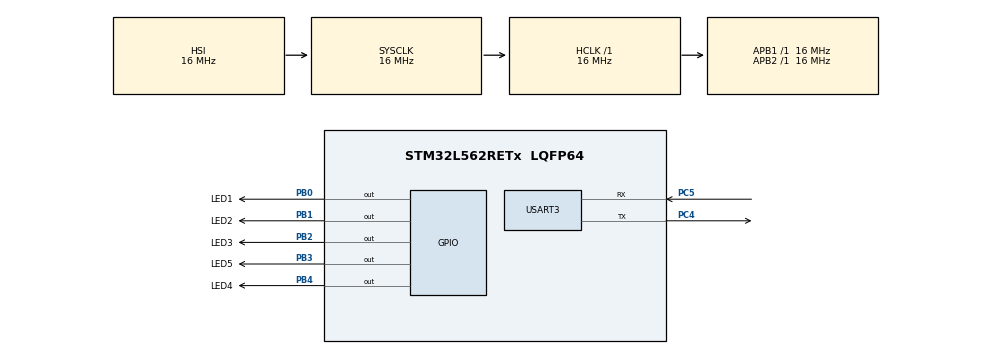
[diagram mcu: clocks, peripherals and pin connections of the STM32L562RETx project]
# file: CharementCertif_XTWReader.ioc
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Mcu.Family=STM32L5
Mcu.Name=STM32L562RETx
Mcu.Package=LQFP64
NVIC.PriorityGroup=NVIC_PRIORITYGROUP_3
NVIC.USART3_IRQn=true\:0\:0\:false\:false\:true\:true\:true
PB0.GPIO_Label=LED1
PB0.Signal=GPIO_Output
PB1.GPIO_Label=LED2
PB1.Signal=GPIO_Output
PB2.GPIO_Label=LED3
PB2.Signal=GPIO_Output
PB3\ (JTDO/TRACESWO).GPIO_Label=LED5
PB3\ (JTDO/TRACESWO).Signal=GPIO_Output
PB4\ (NJTRST).GPIO_Label=LED4
PB4\ (NJTRST).Signal=GPIO_Output
PC4.Mode=Asynchronous
PC4.Signal=USART3_TX
PC5.Mode=Asynchronous
PC5.Signal=USART3_RX
ProjectManager.HeapSize=0x200
ProjectManager.StackSize=0x400
ProjectManager.TargetToolchain=STM32CubeIDE
RCC.AHBFreq_Value=16000000
RCC.APB1Freq_Value=16000000
RCC.APB1TimFreq_Value=16000000
RCC.APB2Freq_Value=16000000
RCC.APB2TimFreq_Value=16000000
RCC.CortexFreq_Value=16000000
RCC.HCLKFreq_Value=16000000
RCC.HSE_VALUE=16000000
RCC.HSI48_VALUE=48000000
RCC.HSI_VALUE=16000000
RCC.LSE_VALUE=32768
RCC.MSI_VALUE=4000000
RCC.SYSCLKFreq_VALUE=16000000
RCC.SYSCLKSource=RCC_SYSCLKSOURCE_HSI
RCC.VCOOutputFreq_Value=32000000
USART3.VirtualMode-Asynchronous=VM_ASYNC
VP_PWR_VS_DBSignals.Mode=DisableDeadBatterySignals
board=custom

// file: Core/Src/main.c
/* USER CODE BEGIN Header */
/**
  ******************************************************************************
  * @file           : main.c
  * @brief          : Main program body
  ******************************************************************************
  * @attention
  *
  * <h2><center>&copy; Copyright (c) 2021 STMicroelectronics.
  * All rights reserved.</center></h2>
  *
  * This software component is licensed by ST under BSD 3-Clause license,
  * the "License"; You may not use this file except in compliance with the
  * License. You may obtain a copy of the License at:
  *                        opensource.org/licenses/BSD-3-Clause
  *
  ******************************************************************************
  */
/* USER CODE END Header */
#include "main.h"

/* USER CODE BEGIN PD */
unsigned char *buffer;
/* USER CODE END PD */

UART_HandleTypeDef huart3;

void SystemClock_Config(void);
static void MX_GPIO_Init(void);
static void MX_USART3_UART_Init(void);

int main(void)
{

  /* MCU Configuration--------------------------------------------------------*/

  /* Reset of all peripherals, Initializes the Flash interface and the Systick. */
  HAL_Init();

  /* Configure the system clock */
  SystemClock_Config();

  /* Initialize all configured peripherals */
  MX_GPIO_Init();
  MX_USART3_UART_Init();
  /* USER CODE BEGIN 2 */
  Ringbuf_init();
  uint8_t ret, timeout;
  unsigned char* ptsize;
  unsigned char* ptcrcUart;
  char* certificat = NULL;
  int readTrig = 0;

  unsigned int sizeCertif = 0;
  unsigned int crcUart = 0;
  int index=0;

  /* USER CODE END 2 */

  /* Infinite loop */
  while (1)
  {

    /* USER CODE BEGIN 3 */

    /* USER CODE END WHILE */

	    /* USER CODE BEGIN 3 */
		  while(1) {
		      ret = IsDataAvailable();
		      if(ret)
		      {
		        Uart_read();
		        HAL_GPIO_TogglePin(LED1_GPIO_Port, LED1_Pin);
		      } else {
		          HAL_Delay(1); //1ms
	              timeout++;
		            if(readTrig) //Data already receive
		             readTrig = 2;
		          	  }
		               //MODIF BCH: 150ms ok confortable
		               if(timeout == 150 || readTrig == 2) break; // timeout to break
		        }

	   buffer = get_rx_buffer();
	   if(Look_for("56474B3321", buffer) == 1)
	   {
		  buffer += 10;  //taille du delimiteur

		  ptsize = str_sub(buffer,index,3);
		  sizeCertif = hex2dec(ptsize);		//taille du certificat
		  buffer +=4;

		  ptcrcUart = str_sub(buffer,index,3);
		  crcUart = hex2dec(ptcrcUart);		//crc recupere par Uart
		  buffer += 4;

		  crc_t crc_calculated = crc_init();
		  crc_calculated = crc_update(crc_calculated, buffer, sizeCertif);
		  crc_calculated = crc_finalize(crc_calculated);		//crc calculé

		  if(crcUart == crc_calculated)
		  {
			certificat = malloc(sizeCertif * sizeof(char));
			if (certificat == NULL)
			 {
			     exit(0);
			 }

		     strcpy(certificat, buffer);
		  }
	   }
  }
  /* USER CODE END 3 */
}

void SystemClock_Config(void)
{
  RCC_OscInitTypeDef RCC_OscInitStruct = {0};
  RCC_ClkInitTypeDef RCC_ClkInitStruct = {0};

  /** Configure the main internal regulator output voltage
  */
  if (HAL_PWREx_ControlVoltageScaling(PWR_REGULATOR_VOLTAGE_SCALE2) != HAL_OK)
  {
    Error_Handler();
  }
  /** Initializes the RCC Oscillators according to the specified parameters
  * in the RCC_OscInitTypeDef structure.
  */
  RCC_OscInitStruct.OscillatorType = RCC_OSCILLATORTYPE_HSI;
  RCC_OscInitStruct.HSIState = RCC_HSI_ON;
  RCC_OscInitStruct.HSICalibrationValue = RCC_HSICALIBRATION_DEFAULT;
  RCC_OscInitStruct.PLL.PLLState = RCC_PLL_NONE;
  if (HAL_RCC_OscConfig(&RCC_OscInitStruct) != HAL_OK)
  {
    Error_Handler();
  }
  /** Initializes the CPU, AHB and APB buses clocks
  */
  RCC_ClkInitStruct.ClockType = RCC_CLOCKTYPE_HCLK|RCC_CLOCKTYPE_SYSCLK
                              |RCC_CLOCKTYPE_PCLK1|RCC_CLOCKTYPE_PCLK2;
  RCC_ClkInitStruct.SYSCLKSource = RCC_SYSCLKSOURCE_HSI;
  RCC_ClkInitStruct.AHBCLKDivider = RCC_SYSCLK_DIV1;
  RCC_ClkInitStruct.APB1CLKDivider = RCC_HCLK_DIV1;
  RCC_ClkInitStruct.APB2CLKDivider = RCC_HCLK_DIV1;

  if (HAL_RCC_ClockConfig(&RCC_ClkInitStruct, FLASH_LATENCY_1) != HAL_OK)
  {
    Error_Handler();
  }
}

static void MX_USART3_UART_Init(void)
{

  huart3.Instance = USART3;
  huart3.Init.BaudRate = 115200;
  huart3.Init.WordLength = UART_WORDLENGTH_8B;
  huart3.Init.StopBits = UART_STOPBITS_1;
  huart3.Init.Parity = UART_PARITY_NONE;
  huart3.Init.Mode = UART_MODE_TX_RX;
  huart3.Init.HwFlowCtl = UART_HWCONTROL_NONE;
  huart3.Init.OverSampling = UART_OVERSAMPLING_16;
  huart3.Init.OneBitSampling = UART_ONE_BIT_SAMPLE_DISABLE;
  huart3.Init.ClockPrescaler = UART_PRESCALER_DIV1;
  huart3.AdvancedInit.AdvFeatureInit = UART_ADVFEATURE_NO_INIT;
  if (HAL_UART_Init(&huart3) != HAL_OK)
  {
    Error_Handler();
  }
  if (HAL_UARTEx_SetTxFifoThreshold(&huart3, UART_TXFIFO_THRESHOLD_1_8) != HAL_OK)
  {
    Error_Handler();
  }
  if (HAL_UARTEx_SetRxFifoThreshold(&huart3, UART_RXFIFO_THRESHOLD_1_8) != HAL_OK)
  {
    Error_Handler();
  }
  if (HAL_UARTEx_DisableFifoMode(&huart3) != HAL_OK)
  {
    Error_Handler();
  }

}

static void MX_GPIO_Init(void)
{
  GPIO_InitTypeDef GPIO_InitStruct = {0};

  /* GPIO Ports Clock Enable */
  __HAL_RCC_GPIOC_CLK_ENABLE();
  __HAL_RCC_GPIOB_CLK_ENABLE();

  /*Configure GPIO pin Output Level */
  HAL_GPIO_WritePin(GPIOB, LED1_Pin|LED2_Pin|LED3_Pin|LED5_Pin
                          |LED4_Pin, GPIO_PIN_RESET);

  /*Configure GPIO pins : LED1_Pin LED2_Pin LED3_Pin LED5_Pin
                           LED4_Pin */
  GPIO_InitStruct.Pin = LED1_Pin|LED2_Pin|LED3_Pin|LED5_Pin
                          |LED4_Pin;
  GPIO_InitStruct.Mode = GPIO_MODE_OUTPUT_PP;
  GPIO_InitStruct.Pull = GPIO_NOPULL;
  GPIO_InitStruct.Speed = GPIO_SPEED_FREQ_LOW;
  HAL_GPIO_Init(GPIOB, &GPIO_InitStruct);

}

/* USER CODE BEGIN 4 */
char* str_sub (const char *s, unsigned int start, unsigned int end)
{
	   char *new_s = NULL;

	   if (s != NULL && start < end)
	   {
	      new_s = malloc (sizeof (*new_s) * (end - start + 2));
	      if (new_s != NULL)
	      {
	         int i;
	         for (i = start; i <= end; i++)
	         {
	            new_s[i-start] = s[i];
	         }
	         new_s[i-start] = '\0';
	      }
	      else
	      {
	         fprintf (stderr, "Memoire insuffisante\n");
	         exit (EXIT_FAILURE);
	      }
	   }
	   return new_s;
}

int hex2dec (const char * tab) {
    int res;
    sscanf(tab, "%X", &res);
    return res;
}
/* USER CODE END 4 */

void Error_Handler(void)
{
  __disable_irq();
  while (1)
  {
  }
}

/************************ (C) COPYRIGHT STMicroelectronics *****END OF FILE****/
